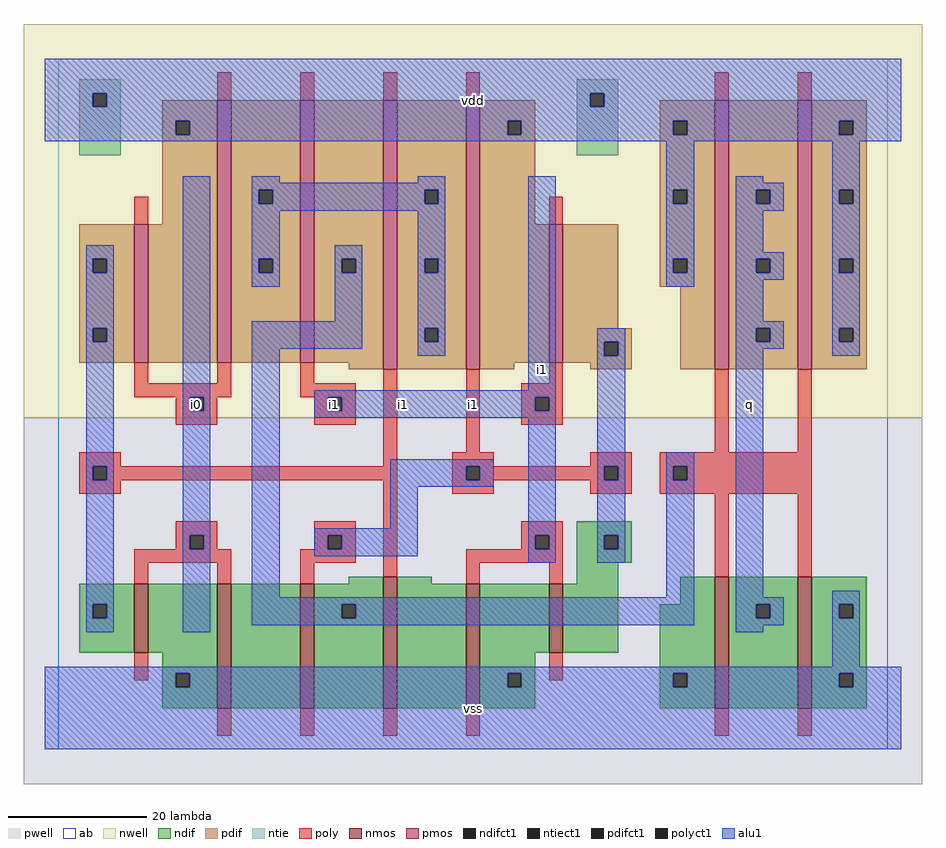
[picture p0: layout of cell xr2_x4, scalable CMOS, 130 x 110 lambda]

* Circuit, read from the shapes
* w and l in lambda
.subckt xr2_x4 i0 i1 q vdd vss
M1 vss i0 n1 VSUBS nfet w=10 l=2
M2 n2 i0 vss VSUBS nfet w=18 l=2
M3 n3 n4 n2 VSUBS nfet w=18 l=2
M4 n5 n1 n3 VSUBS nfet w=19 l=2
M5 vss i1 n5 VSUBS nfet w=18 l=2
M6 n4 i1 vss VSUBS nfet w=10 l=2
M7 q n3 vss VSUBS nfet w=19 l=2 m=2
M8 vdd i0 n1 vdd pfet w=20 l=2
M9 n6 i0 vdd vdd pfet w=38 l=2
M10 n3 i1 n6 vdd pfet w=38 l=2
M11 n6 n1 n3 vdd pfet w=39 l=2
M12 vdd n4 n6 vdd pfet w=39 l=2
M13 n4 i1 vdd vdd pfet w=20 l=2
M14 q n3 vdd vdd pfet w=39 l=2 m=2
.ends

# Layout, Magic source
magic
tech scmos
<< ab >>
rect 0 0 120 100
<< nwell >>
rect -5 48 125 105
<< pwell >>
rect -5 -5 125 48
<< poly >>
rect 23 94 25 98
rect 35 94 37 98
rect 47 94 49 98
rect 59 94 61 98
rect 11 76 13 80
rect 11 53 13 56
rect 23 53 25 56
rect 11 51 25 53
rect 35 53 37 56
rect 95 94 97 98
rect 107 94 109 98
rect 71 76 73 80
rect 35 51 43 53
rect 17 49 19 51
rect 21 49 23 51
rect 17 47 23 49
rect 37 49 39 51
rect 41 49 43 51
rect 37 47 43 49
rect 3 41 9 43
rect 47 41 49 55
rect 59 43 61 55
rect 71 53 73 56
rect 67 51 73 53
rect 67 49 69 51
rect 71 49 73 51
rect 67 47 73 49
rect 95 43 97 55
rect 107 43 109 55
rect 3 39 5 41
rect 7 39 49 41
rect 3 37 9 39
rect 17 31 23 33
rect 17 29 19 31
rect 21 29 23 31
rect 37 31 43 33
rect 37 29 39 31
rect 41 29 43 31
rect 11 27 25 29
rect 11 24 13 27
rect 23 24 25 27
rect 35 27 43 29
rect 35 24 37 27
rect 47 25 49 39
rect 57 41 63 43
rect 77 41 83 43
rect 57 39 59 41
rect 61 39 79 41
rect 81 39 83 41
rect 57 37 63 39
rect 77 37 83 39
rect 87 41 109 43
rect 87 39 89 41
rect 91 39 109 41
rect 87 37 109 39
rect 67 31 73 33
rect 67 29 69 31
rect 71 29 73 31
rect 59 27 73 29
rect 11 10 13 14
rect 59 24 61 27
rect 71 24 73 27
rect 95 25 97 37
rect 107 25 109 37
rect 71 10 73 14
rect 23 2 25 6
rect 35 2 37 6
rect 47 2 49 6
rect 59 2 61 6
rect 95 2 97 6
rect 107 2 109 6
<< ndif >>
rect 42 24 47 25
rect 3 21 11 24
rect 3 19 5 21
rect 7 19 11 21
rect 3 14 11 19
rect 13 14 23 24
rect 15 11 23 14
rect 15 9 17 11
rect 19 9 23 11
rect 15 6 23 9
rect 25 6 35 24
rect 37 21 47 24
rect 37 19 41 21
rect 43 19 47 21
rect 37 6 47 19
rect 49 24 54 25
rect 75 31 83 33
rect 75 29 79 31
rect 81 29 83 31
rect 75 27 83 29
rect 75 24 81 27
rect 49 6 59 24
rect 61 14 71 24
rect 73 14 81 24
rect 90 21 95 25
rect 61 11 69 14
rect 61 9 65 11
rect 67 9 69 11
rect 87 11 95 21
rect 61 6 69 9
rect 87 9 89 11
rect 91 9 95 11
rect 87 6 95 9
rect 97 21 107 25
rect 97 19 101 21
rect 103 19 107 21
rect 97 6 107 19
rect 109 21 117 25
rect 109 19 113 21
rect 115 19 117 21
rect 109 11 117 19
rect 109 9 113 11
rect 115 9 117 11
rect 109 6 117 9
<< pdif >>
rect 15 91 23 94
rect 15 89 17 91
rect 19 89 23 91
rect 15 76 23 89
rect 3 71 11 76
rect 3 69 5 71
rect 7 69 11 71
rect 3 61 11 69
rect 3 59 5 61
rect 7 59 11 61
rect 3 56 11 59
rect 13 56 23 76
rect 25 81 35 94
rect 25 79 29 81
rect 31 79 35 81
rect 25 71 35 79
rect 25 69 29 71
rect 31 69 35 71
rect 25 56 35 69
rect 37 71 47 94
rect 37 69 41 71
rect 43 69 47 71
rect 37 56 47 69
rect 42 55 47 56
rect 49 81 59 94
rect 49 79 53 81
rect 55 79 59 81
rect 49 71 59 79
rect 49 69 53 71
rect 55 69 59 71
rect 49 61 59 69
rect 49 59 53 61
rect 55 59 59 61
rect 49 55 59 59
rect 61 91 69 94
rect 61 89 65 91
rect 67 89 69 91
rect 61 76 69 89
rect 87 91 95 94
rect 87 89 89 91
rect 91 89 95 91
rect 87 81 95 89
rect 87 79 89 81
rect 91 79 95 81
rect 61 56 71 76
rect 73 61 81 76
rect 87 71 95 79
rect 87 69 89 71
rect 91 69 95 71
rect 87 67 95 69
rect 73 59 83 61
rect 73 57 79 59
rect 81 57 83 59
rect 73 56 83 57
rect 61 55 66 56
rect 77 55 83 56
rect 90 55 95 67
rect 97 81 107 94
rect 97 79 101 81
rect 103 79 107 81
rect 97 71 107 79
rect 97 69 101 71
rect 103 69 107 71
rect 97 61 107 69
rect 97 59 101 61
rect 103 59 107 61
rect 97 55 107 59
rect 109 91 117 94
rect 109 89 113 91
rect 115 89 117 91
rect 109 81 117 89
rect 109 79 113 81
rect 115 79 117 81
rect 109 71 117 79
rect 109 69 113 71
rect 115 69 117 71
rect 109 61 117 69
rect 109 59 113 61
rect 115 59 117 61
rect 109 55 117 59
<< alu1 >>
rect -2 95 122 100
rect -2 93 5 95
rect 7 93 77 95
rect 79 93 122 95
rect -2 91 122 93
rect -2 89 17 91
rect 19 89 65 91
rect 67 89 89 91
rect 91 89 113 91
rect 115 89 122 91
rect -2 88 122 89
rect 4 71 8 73
rect 4 69 5 71
rect 7 69 8 71
rect 4 61 8 69
rect 4 59 5 61
rect 7 59 8 61
rect 4 41 8 59
rect 4 39 5 41
rect 7 39 8 41
rect 4 21 8 39
rect 4 19 5 21
rect 7 19 8 21
rect 4 17 8 19
rect 18 51 22 83
rect 28 82 32 83
rect 52 82 56 83
rect 28 81 56 82
rect 28 79 29 81
rect 31 79 53 81
rect 55 79 56 81
rect 28 78 56 79
rect 28 71 32 78
rect 28 69 29 71
rect 31 69 32 71
rect 28 67 32 69
rect 40 71 44 73
rect 40 69 41 71
rect 43 69 44 71
rect 40 62 44 69
rect 18 49 19 51
rect 21 49 22 51
rect 18 31 22 49
rect 18 29 19 31
rect 21 29 22 31
rect 18 17 22 29
rect 28 58 44 62
rect 52 71 56 78
rect 52 69 53 71
rect 55 69 56 71
rect 52 61 56 69
rect 52 59 53 61
rect 55 59 56 61
rect 28 22 32 58
rect 52 57 56 59
rect 68 52 72 83
rect 88 81 92 88
rect 88 79 89 81
rect 91 79 92 81
rect 88 71 92 79
rect 88 69 89 71
rect 91 69 92 71
rect 88 67 92 69
rect 98 82 102 83
rect 98 81 105 82
rect 98 79 101 81
rect 103 79 105 81
rect 98 78 105 79
rect 112 81 116 88
rect 112 79 113 81
rect 115 79 116 81
rect 98 72 102 78
rect 98 71 105 72
rect 98 69 101 71
rect 103 69 105 71
rect 98 68 105 69
rect 112 71 116 79
rect 112 69 113 71
rect 115 69 116 71
rect 98 62 102 68
rect 98 61 105 62
rect 37 51 72 52
rect 37 49 39 51
rect 41 49 69 51
rect 71 49 72 51
rect 37 48 72 49
rect 48 41 63 42
rect 48 39 59 41
rect 61 39 63 41
rect 48 38 63 39
rect 48 32 52 38
rect 37 31 52 32
rect 37 29 39 31
rect 41 29 52 31
rect 37 28 52 29
rect 68 31 72 48
rect 68 29 69 31
rect 71 29 72 31
rect 68 27 72 29
rect 78 59 82 61
rect 78 57 79 59
rect 81 57 82 59
rect 78 41 82 57
rect 98 59 101 61
rect 103 59 105 61
rect 98 58 105 59
rect 112 61 116 69
rect 112 59 113 61
rect 115 59 116 61
rect 78 39 79 41
rect 81 39 82 41
rect 78 31 82 39
rect 78 29 79 31
rect 81 29 82 31
rect 78 27 82 29
rect 88 41 92 43
rect 88 39 89 41
rect 91 39 92 41
rect 88 22 92 39
rect 28 21 92 22
rect 28 19 41 21
rect 43 19 92 21
rect 28 18 92 19
rect 98 22 102 58
rect 112 57 116 59
rect 98 21 105 22
rect 98 19 101 21
rect 103 19 105 21
rect 98 18 105 19
rect 112 21 116 23
rect 112 19 113 21
rect 115 19 116 21
rect 98 17 102 18
rect 112 12 116 19
rect -2 11 122 12
rect -2 9 17 11
rect 19 9 65 11
rect 67 9 89 11
rect 91 9 113 11
rect 115 9 122 11
rect -2 0 122 9
<< ntie >>
rect 3 95 9 97
rect 3 93 5 95
rect 7 93 9 95
rect 75 95 81 97
rect 3 86 9 93
rect 75 93 77 95
rect 79 93 81 95
rect 75 86 81 93
<< nmos >>
rect 11 14 13 24
rect 23 6 25 24
rect 35 6 37 24
rect 47 6 49 25
rect 59 6 61 24
rect 71 14 73 24
rect 95 6 97 25
rect 107 6 109 25
<< pmos >>
rect 11 56 13 76
rect 23 56 25 94
rect 35 56 37 94
rect 47 55 49 94
rect 59 55 61 94
rect 71 56 73 76
rect 95 55 97 94
rect 107 55 109 94
<< polyct1 >>
rect 19 49 21 51
rect 39 49 41 51
rect 69 49 71 51
rect 5 39 7 41
rect 19 29 21 31
rect 39 29 41 31
rect 59 39 61 41
rect 79 39 81 41
rect 89 39 91 41
rect 69 29 71 31
<< ndifct1 >>
rect 5 19 7 21
rect 17 9 19 11
rect 41 19 43 21
rect 79 29 81 31
rect 65 9 67 11
rect 89 9 91 11
rect 101 19 103 21
rect 113 19 115 21
rect 113 9 115 11
<< ntiect1 >>
rect 5 93 7 95
rect 77 93 79 95
<< pdifct1 >>
rect 17 89 19 91
rect 5 69 7 71
rect 5 59 7 61
rect 29 79 31 81
rect 29 69 31 71
rect 41 69 43 71
rect 53 79 55 81
rect 53 69 55 71
rect 53 59 55 61
rect 65 89 67 91
rect 89 89 91 91
rect 89 79 91 81
rect 89 69 91 71
rect 79 57 81 59
rect 101 79 103 81
rect 101 69 103 71
rect 101 59 103 61
rect 113 89 115 91
rect 113 79 115 81
rect 113 69 115 71
rect 113 59 115 61
<< labels >>
rlabel polyct1 20 50 20 50 6 i0
rlabel polyct1 40 50 40 50 6 i1
rlabel alu1 50 50 50 50 6 i1
rlabel alu1 60 6 60 6 6 vss
rlabel alu1 60 50 60 50 6 i1
rlabel alu1 70 55 70 55 6 i1
rlabel alu1 60 94 60 94 6 vdd
rlabel alu1 100 50 100 50 6 q
<< end >>
